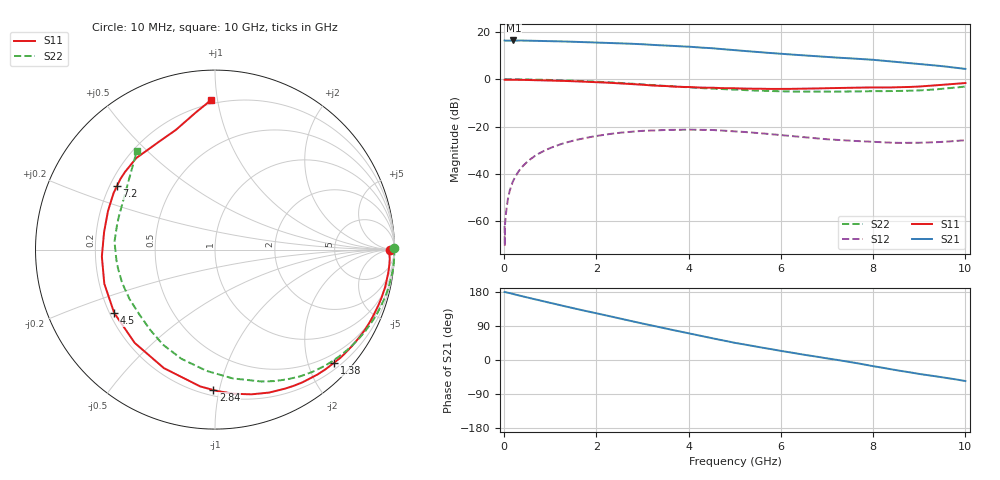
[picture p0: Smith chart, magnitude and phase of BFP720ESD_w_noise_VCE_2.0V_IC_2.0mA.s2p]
! Infineon Technologies  Discrete & RF Semiconductors
! BFP720ESD
! VCE =  2.0 V,  IC =  2.0 mA
! Common Emitter S-Parameters:  Jan 2016
# GHz  S  MA  R  50
!  f  S11  S21  S12  S22
! GHz  MAG  ANG  MAG  ANG  MAG  ANG  MAG  ANG
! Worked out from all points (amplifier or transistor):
!   233 points, 10 MHz to 10 GHz, reference 50 ohm
!   highest |S21| = 16.4 dB at 200 MHz (marker M1)
!   |S21| within 3 dB of that: start of sweep to 4.26 GHz
!   unconditionally stable (mu >= 1): 6.953 GHz to 9.75 GHz
!   at 200 MHz: K = 0.03, MSG = 29.6 dB, |S12| = -42.7 dB
!   at 1.74 GHz: K = 0.17, MSG = 20.3 dB, |S12| = -24.9 dB
!   at 10 GHz: K = 0.76, MSG = 15.1 dB, |S12| = -25.7 dB
!   lowest NFmin = 0.53 dB at 450 MHz
!   S11 on the Smith chart (normalised r, x): 10 MHz: 85, +0; 1.38 GHz: 0.32, -2.47; 2.84 GHz: 0.24, -0.96; 4.5 GHz: 0.22, -0.27; 7.2 GHz: 0.23, +0.28; 10 GHz: 0.18, +0.95
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0.01  0.9767 0.0  6.583 179.3  0.0008 -129.1  0.9989 0.4
0.015  0.9786 -0.3  6.553 179.3  0.0003 149.1  0.9987 0.1
0.02  0.9806 -0.6  6.523 179.4  0.0009 87.5  0.9985 -0.2
0.06  0.9724 -1.8  6.535 178.0  0.0022 88.0  0.9993 -1.3
0.125  0.975 -3.8  6.575 176.4  0.0046 86.7  0.9991 -2.9
0.2  0.9748 -6.2  6.584 174.1  0.0073 85.0  0.9984 -4.7
0.38  0.9707 -11.9  6.562 168.7  0.0138 80.5  0.994 -9.0
0.7  0.957 -21.9  6.499 159.4  0.0252 72.7  0.9818 -16.6
1.38  0.9156 -43.5  6.234 140.0  0.0471 56.1  0.9393 -32.6
1.68  0.8937 -52.9  6.107 131.7  0.0555 49.0  0.9163 -39.6
2.24  0.8468 -70.6  5.856 116.8  0.0688 36.6  0.8663 -52.4
2.84  0.7823 -90.7  5.565 100.5  0.0794 23.1  0.798 -66.7
3.4  0.7234 -109.7  5.205 85.8  0.0841 11.1  0.7329 -79.7
4  0.6859 -130.7  4.87 70.4  0.0865 -0.3  0.6772 -94.0
4.5  0.6633 -147.9  4.524 57.4  0.0851 -9.9  0.6365 -107.1
5.1  0.6397 -165.6  4.042 43.3  0.0787 -19.3  0.5968 -120.5
6  0.6256 171.1  3.456 24.0  0.0662 -29.1  0.5553 -139.3
6.8  0.6397 154.5  3.039 8.3  0.0564 -31.5  0.5478 -156.1
7.2  0.6509 147.0  2.87 0.6  0.0526 -31.0  0.5484 -164.8
8.4  0.6724 121.2  2.37 -24.7  0.0458 -25.2  0.5628 165.9
9  0.7016 108.1  2.1 -36.8  0.0457 -19.9  0.5812 151.2
10  0.8316 91.7  1.651 -55.5  0.0516 -14.6  0.7015 128.4
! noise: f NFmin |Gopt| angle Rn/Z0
0.45  0.53  0.7  6  0.25
0.9  0.56  0.68  14  0.24
1.9  0.65  0.62  37  0.22
2.4  0.73  0.59  45  0.21
5.5  1.15  0.34  129  0.11
10  2.25  0.63  -104  0.6
